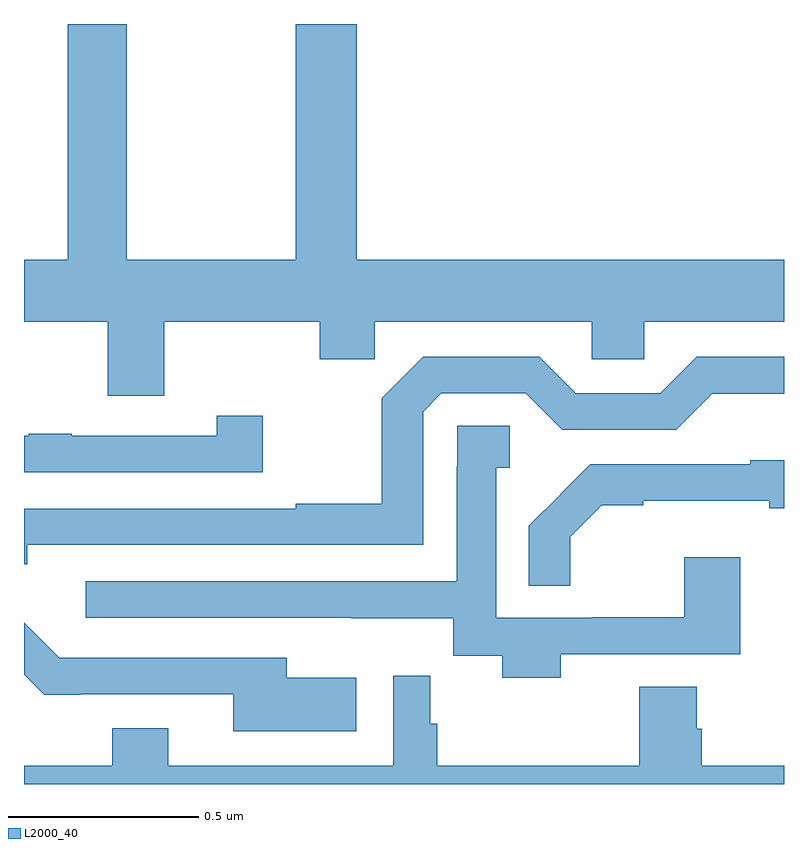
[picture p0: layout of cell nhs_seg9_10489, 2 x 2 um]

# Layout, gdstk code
import gdstk
lib = gdstk.Library(unit=1e-6, precision=1e-09)
def P(c, l, *ps):  # polygons
    for p in ps: c.add(gdstk.Polygon(p, *l))
L2000_40 = (2000, 40)

nhs_seg9_10489 = lib.new_cell('nhs_seg9_10489')
P(nhs_seg9_10489, L2000_40, [(243.778,1233.618),(243.923,1233.618),(243.923,1233.716),(244.494,1233.716),(244.494,1233.618),(244.632,1233.618),(244.632,1233.716),(245,1233.716),(245,1233.88),(243.875,1233.88),(243.875,1234.5),(243.715,1234.5),(243.715,1233.88),(243.27,1233.88),(243.27,1234.5),(243.115,1234.5),(243.115,1233.88),(243,1233.88),(243,1233.716),(243.221,1233.716),(243.221,1233.522),(243.369,1233.522),(243.369,1233.716),(243.778,1233.716)],
  [(243.009,1233.129),(244.05,1233.129),(244.05,1233.48),(244.098,1233.528),(244.32,1233.528),(244.416,1233.432),(244.716,1233.432),(244.811,1233.527),(245,1233.527),(245,1233.624),(244.77,1233.624),(244.674,1233.528),(244.452,1233.528),(244.356,1233.624),(244.05,1233.624),(243.942,1233.515),(243.942,1233.238),(243.715,1233.238),(243.715,1233.225),(243,1233.225),(243,1233.078),(243.009,1233.078)],
  [(243.628,1233.469),(243.507,1233.469),(243.507,1233.417),(243.125,1233.417),(243.125,1233.422),(243.013,1233.422),(243.013,1233.417),(243,1233.417),(243,1233.321),(243.628,1233.321)],
  [(244.412,1232.841),(244.885,1232.841),(244.885,1233.097),(244.738,1233.097),(244.738,1232.939),(244.495,1232.939),(244.495,1232.937),(244.243,1232.937),(244.243,1233.332),(244.278,1233.332),(244.278,1233.443),(244.14,1233.443),(244.14,1233.335),(244.139,1233.335),(244.139,1233.033),(243.162,1233.033),(243.162,1232.937),(243.861,1232.937),(243.861,1232.936),(244.13,1232.936),(244.13,1232.837),(244.259,1232.837),(244.259,1232.78),(244.412,1232.78)],
  [(244.438,1233.151),(244.521,1233.234),(244.63,1233.234),(244.63,1233.245),(244.961,1233.245),(244.961,1233.226),(245,1233.226),(245,1233.352),(244.911,1233.352),(244.911,1233.342),(244.49,1233.342),(244.411,1233.263),(244.412,1233.262),(244.328,1233.179),(244.328,1233.022),(244.438,1233.022)],
  [(243.874,1232.779),(243.691,1232.779),(243.691,1232.832),(243.093,1232.832),(243,1232.925),(243,1232.788),(243.053,1232.735),(243.148,1232.735),(243.148,1232.736),(243.551,1232.736),(243.551,1232.639),(243.874,1232.639)],
  [(245,1232.548),(244.784,1232.548),(244.784,1232.646),(244.771,1232.646),(244.771,1232.756),(244.619,1232.756),(244.619,1232.548),(244.088,1232.548),(244.088,1232.658),(244.069,1232.658),(244.069,1232.785),(243.972,1232.785),(243.972,1232.548),(243.379,1232.548),(243.379,1232.647),(243.232,1232.647),(243.232,1232.548),(243,1232.548),(243,1232.5),(245,1232.5)])

lib.write_gds('nhs_seg9_10489.gds')
